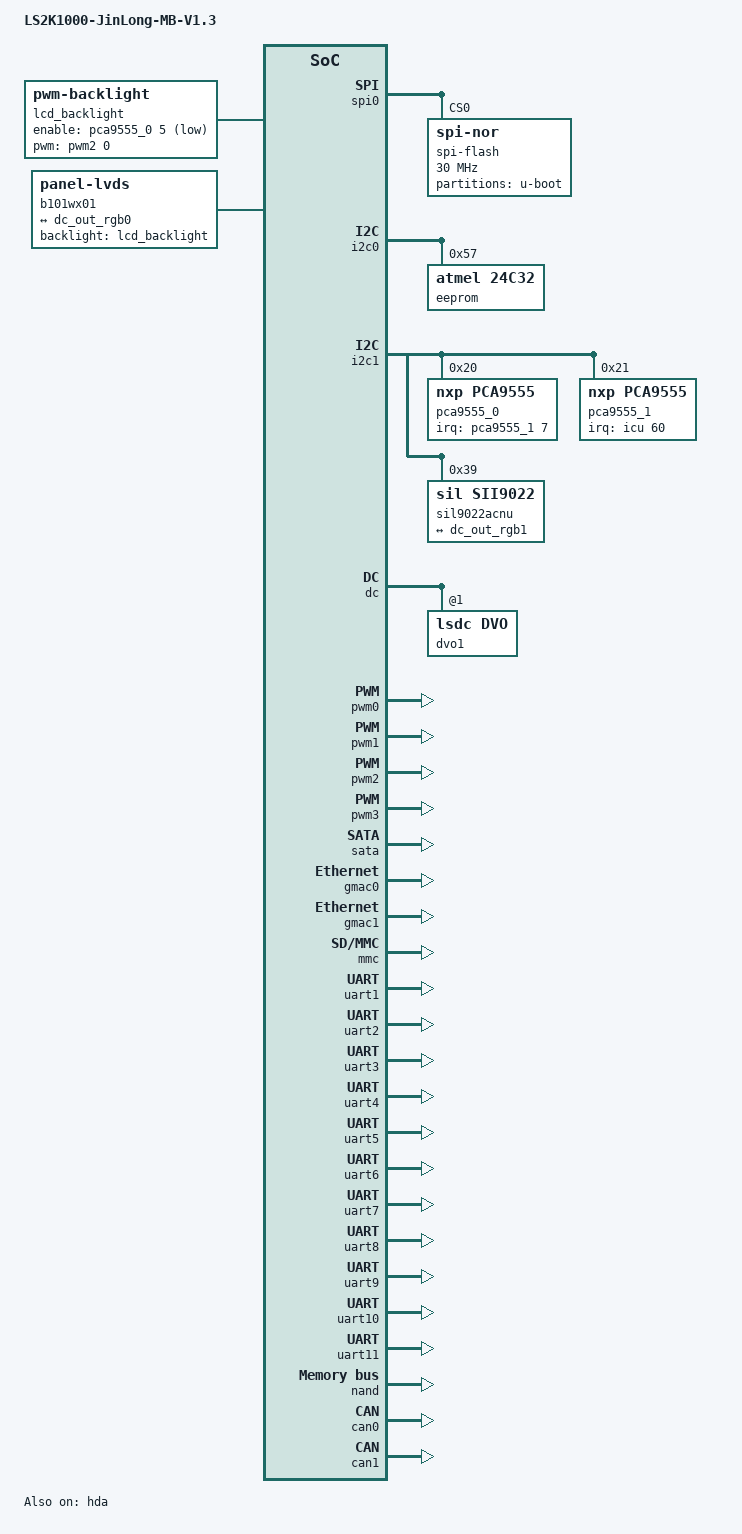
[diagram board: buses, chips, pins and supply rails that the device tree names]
#include "loongson2k1000.dtsi"
#include "loongson_panel_param.dtsi"

/ {
	model = "LS2K1000-JinLong-MB-V1.3";

	chosen {
		stdout-path = "serial0:115200n8";
		bootargs = "earlycon";
	};

	/* not need memory node, we get memory info from boot params. */
	// memory {
	// 	name = "memory";
	// 	device_type = "memory";
	// 	reg =  <0 0x00200000 0 0x0ee00000
	// 		0 0x90000000 0 0x70000000>;
	// };

	reserved-memory {
		#address-cells = <2>;
		#size-cells = <2>;
		ranges;

		fb_memory: framebuffer {
			compatible = "shared-dma-pool";
			no-map;
			reg = <0 0x0b000000 0 0x04000000>; /* 64M */
		};

		linux,cma {
			compatible = "shared-dma-pool";
			reusable;
			size = <0 0x2000000>;
			linux,cma-default;
		};
	};

	lcd_backlight: backlight {
		compatible = "pwm-backlight";
		pwms = <&pwm2 0 5000000>;

		brightness-levels = <0 4 8 16 32 64 128 256 511>;
		default-brightness-level = <8>;

		enable-gpios = <&pca9555_0 5 GPIO_ACTIVE_LOW>;
		post-pwm-on-delay-ms = <10>;
		pwm-off-delay-ms = <10>;
	};

	panel: dvo-connector@0 {
		#address-cells = <1>;
		#size-cells = <0>;
		compatible = "panel-lvds", "auo,b101ean01";
		backlight = <&lcd_backlight>;

		/* lcd power on control gpio */
		/* enable-gpios = <&pioA 3 GPIO_ACTIVE_HIGH>; */
		// power-supply = <&vdd_lcd>;
		width-mm = <223>;
		height-mm = <125>;
		label = "b101wx01";
		data-mapping = "jeida-24";

		status = "okay";

		panel-timing {
			clock-frequency = <71000000>;
			hactive = <1280>;
			vactive = <800>;
			hsync-len = <32>;
			hfront-porch = <8>;
			hback-porch = <10>;
			vfront-porch = <3>;
			vback-porch = <3>;
			vsync-len = <6>;
			de-active = <1>;
			hsync-active = <0>;
			vsync-active = <0>;
			pixelclk-active = <0>;
		};

		port@0 {
			reg = <0>;

			#address-cells = <1>;
			#size-cells = <0>;

			dvo_connector_in: endpoint@0 {
				reg = <0>;
				remote-endpoint = <&dc_out_rgb0>;
			};
		};
	};
};

&spi0 {
	status = "okay";

	spi-flash@0 {
		compatible = "jedec,spi-nor";
		spi-max-frequency = <30000000>;
		reg = <0>; /* CS0 */

		partitions {
			compatible = "fixed-partitions";
			#address-cells = <1>;
			#size-cells = <1>;

			partition@0 {
				label = "u-boot";
				reg = <0x0000000 0x100000>;
				read-only;
			};
		};
	};
};

&i2c0 {
	status = "okay";

	eeprom@57{
		compatible = "atmel,24c32";
		reg = <0x57>;
		pagesize = <32>;
	};
};

&i2c1 {
	status = "okay";

	pca9555_0: gpio@20 {
		compatible = "nxp,pca9555";
		reg = <0x20>;
		gpio-controller;
		#gpio-cells = <2>;
		interrupt-parent = <&pca9555_1>;
		interrupts = <7 IRQ_TYPE_EDGE_FALLING>;

		lvds-shtdn {
			gpio-hog;
			gpios = <4 GPIO_ACTIVE_HIGH>;
			output-high;
			line-name = "lvds_shtdn";
		};
	};

	pca9555_1: gpio@21 {
		compatible = "nxp,pca9555";
		reg = <0x21>;
		gpio-controller;
		#gpio-cells = <2>;
		interrupt-parent = <&icu>;
		interrupts = <60>;
		interrupt-controller;
		#interrupt-cells = <2>;

		pca9555_0-int {
			gpio-hog;
			gpios = <7 GPIO_ACTIVE_HIGH>;
			input;
			line-name = "pca9555_0_int";
		};
	};

	sil9022acnu@39 {
		// compatible = "sil,sii9022-cripple";
		compatible = "sil,sii9022";
		/* Transmitter Programming Interface (TPI) address: 0x72(8 bit addr) */
		reg = <0x39>;

		// hpd-gpios = <&pioA 0 GPIO_ACTIVE_HIGH>;
		/* reset-gpios = <&pioA 39 GPIO_ACTIVE_LOW>; */
		// interrupt-parent = <&pioA>;

		ports {
			#address-cells = <1>;
			#size-cells = <0>;

			port@0 {
				reg = <0>;
				hdmi_encoder_in: endpoint {
					remote-endpoint = <&dc_out_rgb1>;
				};
			};
		};
	};
};

&dc {
	status = "okay";
	#address-cells = <1>;
	#size-cells = <0>;
	memory-region = <&fb_memory>;

	// output-ports = <&dvo0>;

	dvo0: dvo@0 {
		compatible = "lsdc,dvo";
		/* 0 for connector 0 (DVO0) */
		reg = <0>;

		pinctrl-0 = <&dvo0_default>;
		pinctrl-names = "default";
		status="disable";
	};

	dvo1: dvo@1 {
		compatible = "lsdc,dvo";
		/* 1 for connector 1 (DVO1) */
		reg = <1>;

		pinctrl-0 = <&dvo1_default>;
		pinctrl-names = "default";
	};

	ports {
		#address-cells = <1>;
		#size-cells = <0>;

		port@0 {
			reg = <0>;
			dc_out_rgb0: endpoint {
				remote-endpoint = <&dvo_connector_in>;
			};
		};

		port@1 {
			reg = <1>;
			dc_out_rgb1: endpoint {
				remote-endpoint = <&hdmi_encoder_in>;
			};
		};
	};
};

&pwm0 {
	status = "okay";
};

&pwm1 {
	status = "okay";
};

&pwm2 {
	status = "okay";
};

&pwm3 {
	status = "okay";
};

&sata {
	status = "okay";
	pinctrl-0 = <&ahci_default>;
	pinctrl-names = "default";
	ports-implemented = <0x1>;
};

&gmac0 {
	status = "okay";
};

&gmac1 {
	status = "okay";
};

&mmc {
	status = "okay";
};

&uart1 {
	status = "okay";
};

&uart2 {
	status = "okay";
};

&uart3 {
	status = "okay";
};

&uart4 {
	status = "okay";
};

&uart5 {
	status = "okay";
};

&uart6 {
	status = "okay";
};

&uart7 {
	status = "okay";
};

&uart8 {
	status = "okay";
};

&uart9 {
	status = "okay";
};

&uart10 {
	status = "okay";
};

&uart11 {
	status = "okay";
};

&nand {
	status = "okay";

	number-of-parts = <0x2>;
	partitions {
		compatible = "fixed-partitions";
		#address-cells = <1>;
		#size-cells = <1>;

		partition@0 {
			label = "kernel";
			reg = <0x0000000 0xe00000>;
		};

		partition@1 {
			label = "root";
			reg = <0x00e00000 0x0>;
		};
	};
};

&hda {
	status = "okay";
	modelname = "alc269-ls2k1000-jl";
};

&can0 {
	//nxp,external-clock-frequency = <125000000>;
	clocks = <&clks CLK_CAN>;
	net,tx_queue_len = <1024>;
	status = "okay";
};

&can1 {
	//nxp,external-clock-frequency = <125000000>;
	clocks = <&clks CLK_CAN>;
	net,tx_queue_len = <1024>;
	status = "okay";
};
